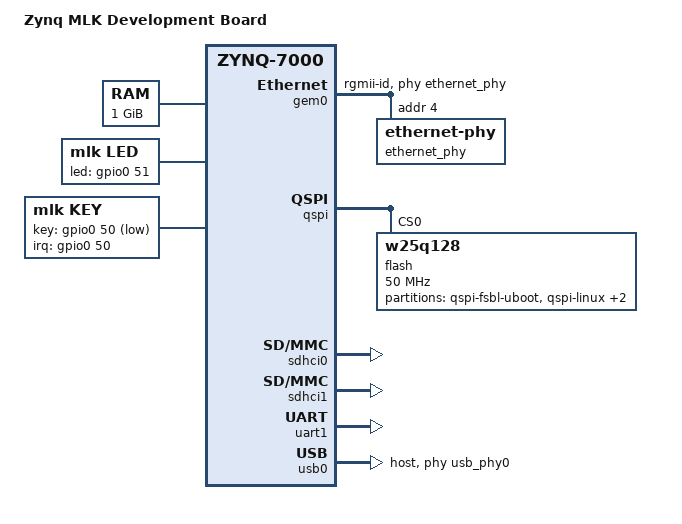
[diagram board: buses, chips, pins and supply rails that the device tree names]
/*
 *  Copyright (C) 2011 - 2014 Xilinx
 *  Copyright (C) 2012 National Instruments Corp.
 *
 * This software is licensed under the terms of the GNU General Public
 * License version 2, as published by the Free Software Foundation, and
 * may be copied, distributed, and modified under those terms.
 *
 * This program is distributed in the hope that it will be useful,
 * but WITHOUT ANY WARRANTY; without even the implied warranty of
 * MERCHANTABILITY or FITNESS FOR A PARTICULAR PURPOSE.  See the
 * GNU General Public License for more details.
 */

#define GPIO_ACTIVE_HIGH 1
#define GPIO_ACTIVE_LOW 0

#include <dt-bindings/interrupt-controller/irq.h>

/dts-v1/;
/include/ "zynq-7000.dtsi"

/ {
	model = "Zynq MLK Development Board";
	compatible = "xlnx,zynq-MZ7X", "xlnx,zynq-7000";

	aliases {
		ethernet0 = &gem0;
		serial0 = &uart1;
		spi0 = &qspi;
		mmc0 = &sdhci0;
		mmc1 = &sdhci1;
	};

	memory@0 {
		device_type = "memory";
		reg = <0x0 0x40000000>;
	};

	chosen {
		bootargs = "";
		stdout-path = "serial0:115200n8";
	};

	usb_phy0: phy0@e0002000 {
		compatible = "ulpi-phy";
		#phy-cells = <0>;
		reg = <0xe0002000 0x1000>;
		view-port = <0x0170>;
		drv-vbus;
	};

	led {
		compatible = "mlk,led";
		status = "okay";
		default-state = "on";
		led-gpio = <&gpio0 51 GPIO_ACTIVE_HIGH>;
	};

	key {
		compatible = "mlk,key";
		status = "okay";
		key-gpio = <&gpio0 50 GPIO_ACTIVE_LOW>;

		interrupt-parent=<&gpio0>;
		interrupts=<50 IRQ_TYPE_EDGE_BOTH>;
	};
};

/ {
	cpus {
		cpu@0 {
			operating-points = <666666 1000000 333333 1000000>;
		};
	};
};

&gem0 {
	status = "okay";
	phy-mode = "rgmii-id";
	phy-handle = <&ethernet_phy>;
	xlnx,ptp-enet-clock = <0x69f6bcb>;
	local-mac-address = [00 0a 35 00 00 00];
	ethernet_phy: ethernet-phy@4 {
		reg = <0x4>;
		device_type = "ethernet-phy";
	};
};

&intc {
	num_cpus = <2>;
	num_interrupts = <96>;
};
&qspi {
	u-boot,dm-pre-reloc;
	status = "okay";
	is-dual = <0>;
	num-cs = <1>;
	flash@0 {
		compatible = "w25q128";
		reg = <0x0>;
		spi-tx-bus-width = <4>;
		spi-rx-bus-width = <4>;
		spi-max-frequency = <50000000>;
		#address-cells = <1>;
		#size-cells = <1>;
		partition@0x00000000 {
			label = "qspi-fsbl-uboot";
			reg = <0x0 0x150000>;
		};
		partition@0x00150000 {
			label = "qspi-linux";
			reg = <0x150000 0x400000>;
		};
		partition@0x00550000 {
			label = "qspi-device-tree";
			reg = <0x550000 0x20000>;
		};
		partition@0x00570000 {
			label = "qspi-rootfs";
			reg = <0x570000 0x800000>;
		};
	};
};

&sdhci0 {
	status = "okay";
	xlnx,has-cd = <0x1>;
	xlnx,has-power = <0x0>;
	xlnx,has-wp = <0x0>;
};
&sdhci1 {
	status = "okay";
	xlnx,has-cd = <0x0>;
	xlnx,has-power = <0x0>;
	xlnx,has-wp = <0x0>;
};

&uart1 {
	cts-override ;
	device_type = "serial";
	port-number = <0>;
	status = "okay";
	u-boot,dm-pre-reloc;
};
&clkc {
	fclk-enable = <0x7>;
	ps-clk-frequency = <33333333>;
};
&gpio0 {
	emio-gpio-width = <64>;
	gpio-mask-high = <0x0>;
	gpio-mask-low = <0x5600>;
};
&usb0 {
	status = "okay";
	phy_type = "ulpi";
	dr_mode = "host";
	usb-phy = <&usb_phy0>;
	usb-reset = <&gpio0 46 0>;
};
